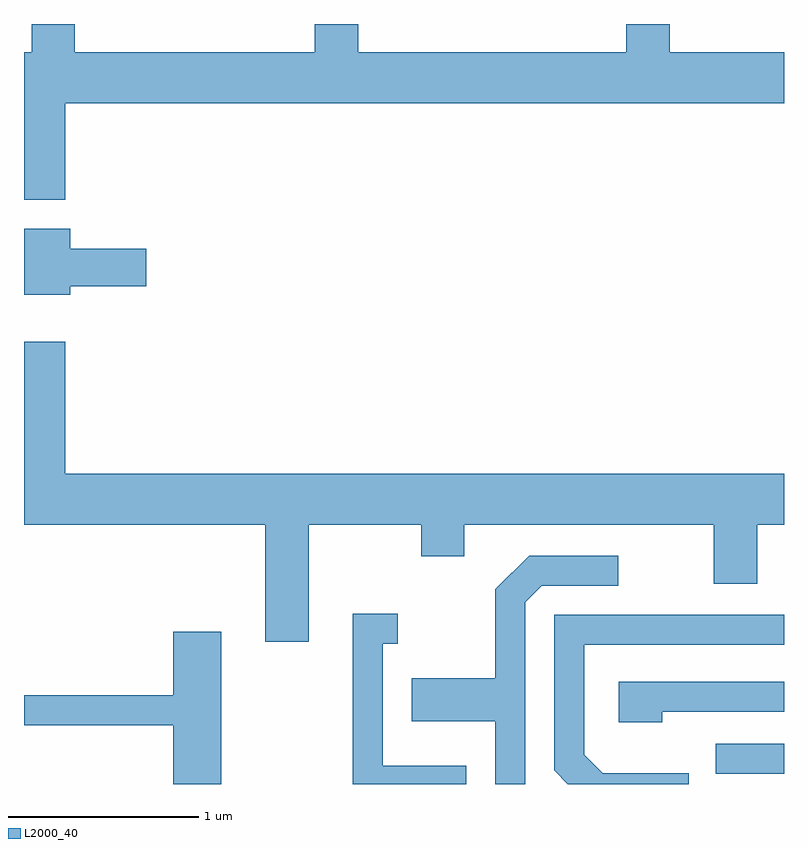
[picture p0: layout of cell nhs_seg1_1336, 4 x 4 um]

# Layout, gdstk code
import gdstk
lib = gdstk.Library(unit=1e-6, precision=1e-09)
def R(c, l, rs):  # rectangles x0, y0, x1, y1
    for r in rs: c.add(gdstk.rectangle(r[:2], r[2:], *l))
def P(c, l, *ps):  # polygons
    for p in ps: c.add(gdstk.Polygon(p, *l))
L2000_40 = (2000, 40)

nhs_seg1_1336 = lib.new_cell('nhs_seg1_1336')
R(nhs_seg1_1336, L2000_40, [(229.253,953.766,229.611,953.924)])
P(nhs_seg1_1336, L2000_40, [(225.829,957.296),(229.611,957.296),(229.611,957.564),(229.009,957.564),(229.009,957.712),(228.781,957.712),(228.781,957.564),(227.369,957.564),(227.369,957.712),(227.141,957.712),(227.141,957.564),(225.879,957.564),(225.879,957.712),(225.651,957.712),(225.651,957.564),(225.611,957.564),(225.611,956.786),(225.829,956.786)],
  [(225.854,956.331),(226.254,956.331),(226.254,956.529),(225.854,956.529),(225.854,956.634),(225.611,956.634),(225.611,956.286),(225.854,956.286)],
  [(227.109,955.076),(227.701,955.076),(227.701,954.911),(227.929,954.911),(227.929,955.076),(229.241,955.076),(229.241,954.766),(229.469,954.766),(229.469,955.076),(229.611,955.076),(229.611,955.344),(225.829,955.344),(225.829,956.039),(225.611,956.039),(225.611,955.076),(226.881,955.076),(226.881,954.461),(227.109,954.461)],
  [(228.249,954.669),(228.337,954.756),(228.738,954.756),(228.738,954.914),(228.269,954.914),(228.091,954.737),(228.091,954.269),(227.651,954.269),(227.651,954.041),(228.091,954.041),(228.091,953.712),(228.249,953.712)],
  [(227.939,953.809),(227.499,953.809),(227.499,954.451),(227.578,954.451),(227.578,954.609),(227.341,954.609),(227.341,953.712),(227.939,953.712)],
  [(229.109,953.769),(228.657,953.769),(228.559,953.867),(228.559,954.446),(229.611,954.446),(229.611,954.604),(228.401,954.604),(228.401,953.784),(228.473,953.712),(229.109,953.712)],
  [(226.649,954.514),(226.396,954.514),(226.396,954.179),(225.611,954.179),(225.611,954.021),(226.396,954.021),(226.396,953.712),(226.649,953.712)],
  [(228.969,954.091),(229.611,954.091),(229.611,954.249),(228.741,954.249),(228.741,954.036),(228.969,954.036)])

lib.write_gds('nhs_seg1_1336.gds')
